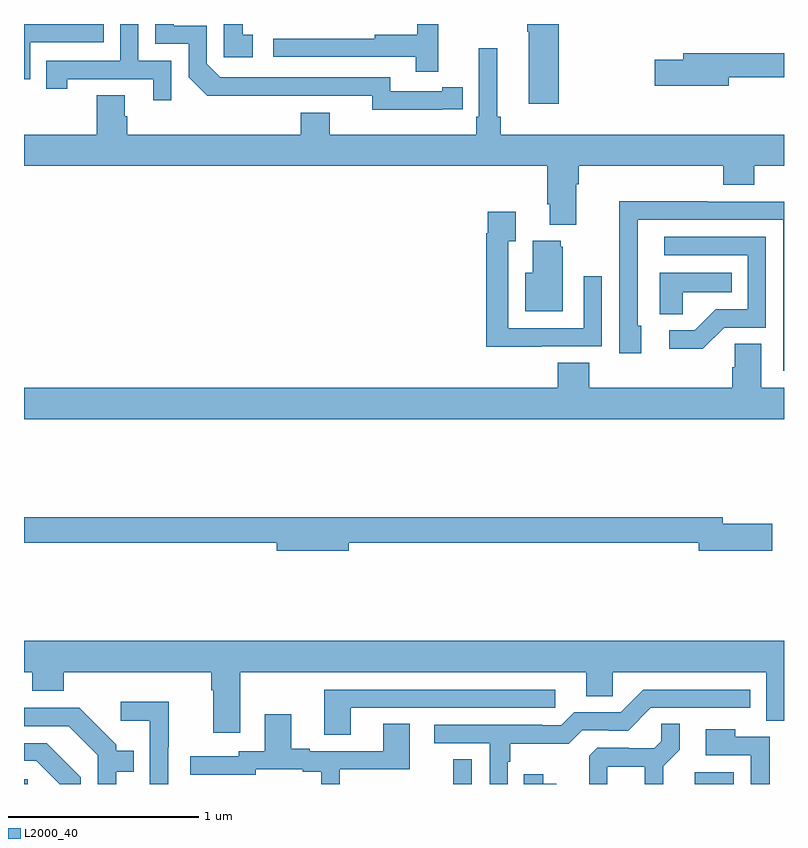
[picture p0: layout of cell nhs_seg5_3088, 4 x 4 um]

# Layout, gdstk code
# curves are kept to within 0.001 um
import gdstk
lib = gdstk.Library(unit=1e-6, precision=1e-09)
def R(c, l, rs):  # rectangles x0, y0, x1, y1
    for r in rs: c.add(gdstk.rectangle(r[:2], r[2:], *l))
def P(c, l, *ps):  # polygons
    for p in ps: c.add(gdstk.Polygon(p, *l))
L2000_40 = (2000, 40)

nhs_seg5_3088 = lib.new_cell('nhs_seg5_3088')
R(nhs_seg5_3088, L2000_40, [(289,894.799,289.021,894.825), (291.259,894.799,291.357,894.929), (292.529,894.799,292.735,894.862)])
P(nhs_seg5_3088, L2000_40, [(289.776,898.605),(289.602,898.605),(289.602,898.799),(289.506,898.799),(289.506,898.605),(289.117,898.605),(289.117,898.458),(289.228,898.458),(289.228,898.509),(289.679,898.509),(289.679,898.398),(289.776,898.398)],
  [(291.815,898.799),(291.649,898.799),(291.649,898.759),(291.656,898.759),(291.656,898.38),(291.815,898.38)],
  [(291.179,898.799),(291.069,898.799),(291.069,898.742),(290.845,898.742),(290.845,898.722),(290.313,898.722),(290.313,898.626),(291.061,898.626),(291.061,898.548),(291.179,898.548)],
  [(291.2,898.35),(291.308,898.35),(291.308,898.466),(291.2,898.466),(291.2,898.446),(290.928,898.446),(290.928,898.518),(290.034,898.518),(289.962,898.59),(289.962,898.791),(289.789,898.791),(289.789,898.799),(289.692,898.799),(289.692,898.695),(289.866,898.695),(289.866,898.518),(289.964,898.421),(290.832,898.422),(290.832,898.349)],
  [(290.203,898.743),(290.15,898.743),(290.15,898.799),(290.052,898.799),(290.052,898.623),(290.203,898.623)],
  [(289.032,898.704),(289.421,898.704),(289.421,898.799),(289,898.799),(289,898.509),(289.032,898.509)],
  [(291.907,897.956),(291.92,897.956),(291.92,898.052),(292.679,898.052),(292.679,897.953),(292.844,897.953),(292.844,898.052),(293,898.052),(293,898.216),(291.509,898.216),(291.509,898.312),(291.49,898.312),(291.49,898.672),(291.393,898.672),(291.393,898.312),(291.38,898.312),(291.38,898.216),(290.608,898.216),(290.608,898.333),(290.456,898.333),(290.456,898.216),(289.544,898.216),(289.544,898.314),(289.531,898.314),(289.531,898.424),(289.384,898.424),(289.384,898.216),(289,898.216),(289,898.052),(291.755,898.052),(291.755,897.85),(291.767,897.85),(291.767,897.743),(291.907,897.743)],
  [(292.708,898.518),(293,898.518),(293,898.646),(292.469,898.646),(292.469,898.61),(292.32,898.61),(292.32,898.475),(292.708,898.475)],
  [(293,897.864),(292.595,897.864),(292.595,897.866),(292.132,897.866),(292.132,897.559),(292.134,897.559),(292.134,897.066),(292.249,897.066),(292.249,897.21),(292.23,897.21),(292.23,897.768),(292.995,897.768),(292.995,896.973),(293,896.973)],
  [(291.725,897.102),(292.041,897.102),(292.041,897.472),(291.945,897.472),(291.945,897.198),(291.549,897.198),(291.549,897.655),(291.589,897.655),(291.589,897.811),(291.441,897.811),(291.441,897.698),(291.433,897.698),(291.433,897.101),(291.725,897.101)],
  [(292.686,897.201),(292.905,897.201),(292.905,897.678),(292.371,897.678),(292.371,897.582),(292.809,897.582),(292.809,897.297),(292.64,897.297),(292.529,897.186),(292.395,897.186),(292.395,897.089),(292.573,897.089)],
  [(291.835,897.627),(291.824,897.627),(291.824,897.658),(291.677,897.658),(291.677,897.49),(291.638,897.49),(291.638,897.287),(291.835,897.287)],
  [(292.467,897.386),(292.724,897.386),(292.724,897.49),(292.346,897.49),(292.346,897.271),(292.467,897.271)],
  [(293,896.884),(292.879,896.884),(292.879,897.116),(292.74,897.116),(292.74,896.993),(292.727,896.993),(292.727,896.884),(291.974,896.884),(291.974,897.017),(291.809,897.017),(291.809,896.884),(289,896.884),(289,896.72),(293,896.72)],
  [(290.71,896.068),(292.55,896.068),(292.55,896.026),(292.939,896.026),(292.939,896.168),(292.678,896.168),(292.678,896.204),(289,896.204),(289,896.068),(290.33,896.068),(290.33,896.026),(290.71,896.026)],
  [(290.137,895.388),(291.959,895.388),(291.959,895.261),(292.098,895.261),(292.098,895.388),(292.907,895.388),(292.907,895.132),(293,895.132),(293,895.552),(289,895.552),(289,895.388),(289.043,895.388),(289.043,895.289),(289.208,895.289),(289.208,895.388),(289.985,895.388),(289.985,895.292),(289.997,895.292),(289.997,895.068),(290.137,895.068)],
  [(290.719,895.2),(291.796,895.2),(291.796,895.296),(290.579,895.296),(290.579,895.057),(290.719,895.057)],
  [(291.546,894.917),(291.559,894.917),(291.559,895.01),(291.866,895.01),(291.939,895.083),(292.078,895.083),(292.078,895.08),(292.179,895.08),(292.299,895.2),(292.822,895.2),(292.822,895.296),(292.26,895.296),(292.14,895.176),(291.897,895.176),(291.828,895.107),(291.728,895.107),(291.728,895.11),(291.159,895.11),(291.159,895.014),(291.45,895.014),(291.45,894.799),(291.546,894.799)],
  [(289.758,894.992),(289.761,894.992),(289.761,895.231),(289.509,895.231),(289.509,895.133),(289.662,895.133),(289.662,894.799),(289.758,894.799)],
  [(289.486,894.864),(289.577,894.864),(289.577,894.973),(289.485,894.973),(289.485,895.005),(289.29,895.2),(289,895.2),(289,895.104),(289.236,895.104),(289.389,894.951),(289.389,894.799),(289.486,894.799)],
  [(290.661,894.876),(291.031,894.876),(291.031,895.115),(290.891,895.115),(290.891,894.972),(290.503,894.972),(290.503,894.985),(290.407,894.985),(290.407,895.165),(290.267,895.165),(290.267,894.972),(290.13,894.972),(290.13,894.945),(289.875,894.945),(289.875,894.849),(290.22,894.849),(290.22,894.876),(290.468,894.876),(290.468,894.864),(290.564,894.864),(290.564,894.799),(290.661,894.799)],
  [(292.07,894.89),(292.268,894.89),(292.268,894.799),(292.365,894.799),(292.365,894.893),(292.451,894.979),(292.451,895.115),(292.353,895.115),(292.353,895.024),(292.316,894.987),(292.182,894.987),(292.182,894.99),(292.017,894.99),(291.976,894.949),(291.976,894.799),(292.07,894.799)],
  [(292.925,895.047),(292.743,895.047),(292.743,895.087),(292.587,895.087),(292.587,894.951),(292.824,894.951),(292.824,894.799),(292.925,894.799)],
  [(289.299,894.835),(289.12,895.014),(289,895.014),(289,894.921),(289.065,894.921),(289.187,894.799),(289.299,894.799)],
  [(291.802,894.8),(291.732,894.8),(291.732,894.85),(291.631,894.85),(291.631,894.799),(291.803,894.799)])

lib.write_gds('nhs_seg5_3088.gds')
